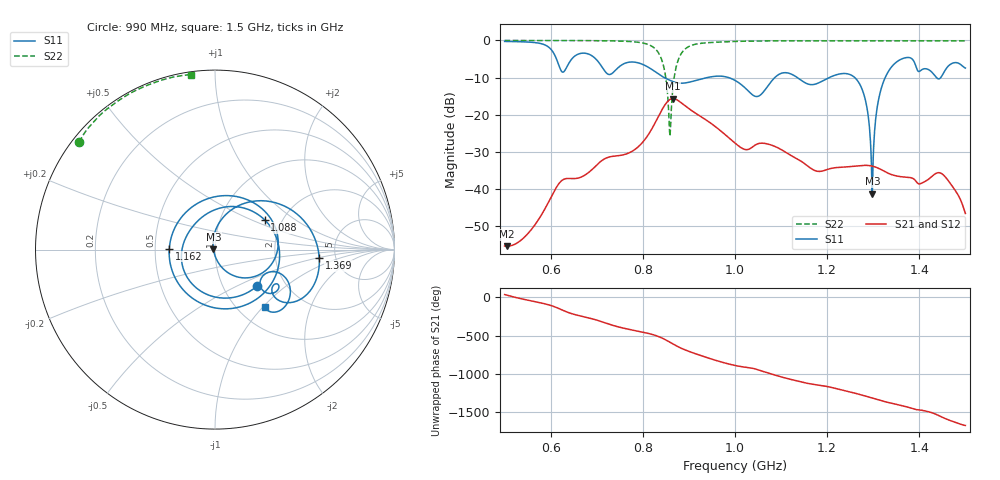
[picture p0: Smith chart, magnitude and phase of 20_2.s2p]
! TOUCHSTONE file generated by CST MICROWAVE STUDIO
! Date and time: Thu Feb 11 19:33:23 2021
! Project name: Scenario_1_Planar_Body_Tissue_Out_of_Line.cst
! Parameters = {L_HA=400; Ltissue=1000; MT=2.54; Rad_Dielectric=30; Rad_Lower=7.3; Rad_Upper=30; Wtissue=1000; a_HA=580; a_WG=246; b_HA=500; b_WG=121; c_HA=0; c_WG=187; d_feed=85; dx1=346; dy1=-17.3; h_feed=15; h_lower=18; h_upper=40; hfat=3; hgap=25; hmuscle=50; hskin=1.5}
! Header version: 2018
! Port assignment regex: !\s*Touchstone port\s*([0-9]+)\s*=\s*(CST MWS port|CST DS port)\s*([0-9]+|Zmin|Zmax)\s*\(\"(.*)\"\)(\s*mode\s*([0-9]+))?.*
! Touchstone port assignment:
! Touchstone port 1 = CST MWS port 1 ("")
! Touchstone port 2 = CST MWS port 2 ("")
# GHz S DB R 50
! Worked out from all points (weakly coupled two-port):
!   1003 points, 500 MHz to 1.5 GHz, reference 50 ohm
!   highest |S21| = -15.68 dB at 865 MHz (marker M1); lowest = -55.5 dB at 505 MHz (marker M2)
!   lowest |S11| = -41.3 dB at 1.298 GHz (marker M3), VSWR 1.02, Z = 49.2 + j0.114 ohm
!   |S11| at or under -10 dB: 846 MHz to 940.2 MHz (94.16 MHz wide, 10.5 % of centre); 985.6 MHz to 1.087 GHz (100.9 MHz wide, 9.74 % of centre); 1.135 GHz to 1.205 GHz (69.68 MHz wide, 5.96 % of centre)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
!   |S22| runs from -25.8 to 0.0 dB; largest |S21 - S12| = 2.9e-06
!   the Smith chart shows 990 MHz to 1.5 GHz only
!   S11 on the Smith chart (normalised r, x): 990 MHz: 1.43, -0.65; 1.088 GHz: 1.63, +0.60; 1.162 GHz: 0.59, +0.01; 1.369 GHz: 3.71, -0.51; 1.5 GHz: 1.32, -1.03
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0.5  -0.27 -121.5  -55.43 35.6  -55.43 35.6  -0.01 151.1
0.505  -0.28 -123.6  -55.48 27.4  -55.48 27.4  -0.01 150.8
0.667  -3.45 155.1  -36.80 112.5  -36.80 112.5  -0.04 138.3
0.716  -8.02 22.8  -32.00 30.6  -32.00 30.6  -0.09 132.8
0.739  -8.25 -95.6  -31.18 -13.9  -31.18 -13.9  -0.14 129.4
0.767  -5.93 177.2  -30.48 -55.3  -30.48 -55.3  -0.26 123.8
0.8  -6.49 103.5  -27.40 -95.9  -27.40 -95.9  -0.69 112.7
0.834  -9.04 24.3  -20.45 -152.7  -20.45 -152.7  -3.37 84.9
0.857  -10.64 -39.7  -16.07 138.7  -16.07 138.7  -21.64 11.2
0.865  -11.08 -65.1  -15.68 110.7  -15.68 110.7  -13.10 -134.4
0.934  -10.17 86.3  -21.18 -57.2  -21.18 -57.2  -0.68 152.6
0.99  -10.19 -41.5  -26.61 -156.2  -26.61 -156.2  -0.32 141.7
1  -10.77 -65.0  -27.68 -169.9  -27.68 -169.9  -0.27 140.3
1.088  -9.83 30.9  -28.66 62.0  -28.66 62.0  -0.12 130.8
1.126  -9.31 -72.6  -31.33 0.6  -31.33 0.6  -0.11 127.4
1.162  -11.88 178.8  -34.27 -48.7  -34.27 -48.7  -0.10 124.6
1.167  -11.93 163.1  -34.68 -53.7  -34.68 -53.7  -0.10 124.2
1.263  -10.40 -23.6  -33.85 -176.3  -33.85 -176.3  -0.08 116.8
1.298  -41.33 172.3  -33.89 123.5  -33.89 123.5  -0.08 114.2
1.334  -8.14 43.8  -35.90 64.5  -35.90 64.5  -0.09 111.5
1.369  -4.70 -4.5  -36.86 15.1  -36.86 15.1  -0.09 108.8
1.5  -7.46 -48.6  -46.65 126.8  -46.65 126.8  -0.14 97.9
